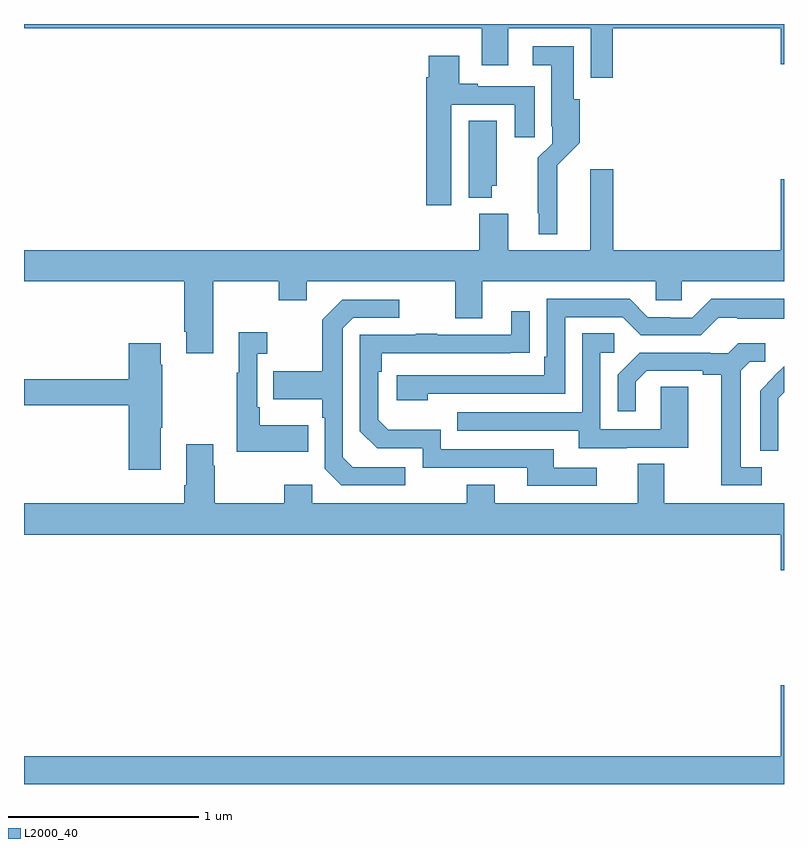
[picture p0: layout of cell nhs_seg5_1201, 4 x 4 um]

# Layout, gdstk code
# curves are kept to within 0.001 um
import gdstk
lib = gdstk.Library(unit=1e-6, precision=1e-09)
def P(c, l, *ps):  # polygons
    for p in ps: c.add(gdstk.Polygon(p, *l))
L2000_40 = (2000, 40)

nhs_seg5_1201 = lib.new_cell('nhs_seg5_1201')
P(nhs_seg5_1201, L2000_40, [(188.099,840.776),(188.984,840.776),(188.984,840.588),(189,840.588),(189,840.799),(185,840.799),(185,840.776),(187.409,840.776),(187.409,840.582),(187.549,840.582),(187.549,840.776),(187.983,840.776),(187.983,840.516),(188.099,840.516)],
  [(187.807,840.056),(187.925,840.174),(187.925,840.402),(187.894,840.402),(187.894,840.682),(187.677,840.682),(187.677,840.581),(187.775,840.581),(187.775,840.262),(187.779,840.262),(187.779,840.168),(187.705,840.094),(187.705,839.803),(187.709,839.803),(187.709,839.693),(187.807,839.693)],
  [(187.249,840.375),(187.583,840.375),(187.583,840.204),(187.687,840.204),(187.687,840.471),(187.387,840.471),(187.387,840.484),(187.291,840.484),(187.291,840.631),(187.13,840.631),(187.13,840.518),(187.118,840.518),(187.118,839.844),(187.249,839.844)],
  [(187.462,839.949),(187.489,839.949),(187.489,840.29),(187.34,840.29),(187.34,839.885),(187.462,839.885)],
  [(188.325,839.346),(188.463,839.346),(188.463,839.444),(189,839.444),(189,839.983),(188.984,839.983),(188.984,839.608),(188.102,839.608),(188.102,840.034),(187.979,840.034),(187.979,839.608),(187.549,839.608),(187.549,839.8),(187.397,839.8),(187.397,839.608),(185,839.608),(185,839.444),(185.843,839.444),(185.843,839.179),(185.855,839.179),(185.855,839.067),(185.995,839.067),(185.995,839.444),(186.34,839.444),(186.34,839.345),(186.487,839.345),(186.487,839.444),(187.271,839.444),(187.271,839.25),(187.411,839.25),(187.411,839.444),(188.325,839.444)],
  [(187.124,838.854),(187.848,838.854),(187.848,839.256),(188.151,839.256),(188.247,839.16),(188.562,839.16),(188.655,839.253),(188.755,839.253),(188.755,839.249),(189,839.249),(189,839.353),(188.617,839.353),(188.517,839.253),(188.402,839.253),(188.402,839.256),(188.283,839.256),(188.187,839.352),(187.752,839.352),(187.752,839.047),(187.739,839.047),(187.739,838.95),(186.963,838.95),(186.963,838.82),(187.124,838.82)],
  [(187.006,838.467),(186.729,838.467),(186.678,838.518),(186.678,839.199),(186.732,839.253),(186.976,839.253),(186.976,839.349),(186.675,839.349),(186.57,839.243),(186.57,838.971),(186.313,838.971),(186.313,838.823),(186.57,838.823),(186.57,838.727),(186.582,838.727),(186.582,838.458),(186.669,838.371),(187.006,838.371)],
  [(188.014,838.464),(187.789,838.464),(187.789,838.56),(187.194,838.56),(187.194,838.663),(186.917,838.663),(186.864,838.716),(186.864,838.97),(186.884,838.97),(186.884,839.067),(187.661,839.068),(187.661,839.287),(187.565,839.287),(187.565,839.163),(187.175,839.163),(187.175,839.168),(187.063,839.168),(187.063,839.163),(186.768,839.163),(186.768,838.656),(186.858,838.566),(187.098,838.566),(187.098,838.464),(187.649,838.464),(187.649,838.368),(188.014,838.368)],
  [(186.497,838.687),(186.241,838.687),(186.241,838.783),(186.228,838.783),(186.228,839.063),(186.28,839.063),(186.28,839.176),(186.131,839.176),(186.131,838.963),(186.12,838.963),(186.12,838.547),(186.497,838.547)],
  [(188.173,838.569),(188.497,838.569),(188.497,838.889),(188.352,838.889),(188.352,838.665),(188.034,838.665),(188.034,839.07),(188.107,839.07),(188.107,839.171),(187.938,839.171),(187.938,838.755),(187.279,838.755),(187.279,838.659),(187.919,838.659),(187.919,838.565),(188.173,838.565)],
  [(185.719,838.675),(185.727,838.675),(185.727,839.006),(185.719,839.006),(185.719,839.119),(185.552,839.119),(185.552,838.928),(185,838.928),(185,838.792),(185.552,838.792),(185.552,838.452),(185.719,838.452)],
  [(188.884,838.467),(188.773,838.467),(188.773,838.975),(188.82,839.022),(188.902,839.022),(188.902,839.119),(188.758,839.119),(188.706,839.067),(188.612,839.067),(188.612,839.07),(188.24,839.07),(188.124,838.954),(188.124,838.761),(188.221,838.761),(188.221,838.917),(188.278,838.974),(188.573,838.974),(188.573,838.952),(188.669,838.952),(188.669,838.371),(188.884,838.371)],
  [(188.97,838.706),(188.969,838.706),(188.969,838.829),(189,838.86),(189,838.998),(188.946,838.944),(188.947,838.943),(188.874,838.87),(188.874,838.552),(188.97,838.552)],
  [(189,838.276),(188.371,838.276),(188.371,838.484),(188.231,838.484),(188.231,838.276),(187.477,838.276),(187.477,838.375),(187.33,838.375),(187.33,838.276),(186.516,838.276),(186.516,838.375),(186.37,838.375),(186.37,838.276),(186.003,838.276),(186.003,838.475),(185.995,838.475),(185.995,838.588),(185.855,838.588),(185.855,838.372),(185.843,838.372),(185.843,838.276),(185,838.276),(185,838.112),(188.984,838.112),(188.984,837.924),(189,837.924)],
  [(189,837.319),(188.984,837.319),(188.984,836.944),(185,836.944),(185,836.799),(189,836.799)])

lib.write_gds('nhs_seg5_1201.gds')
